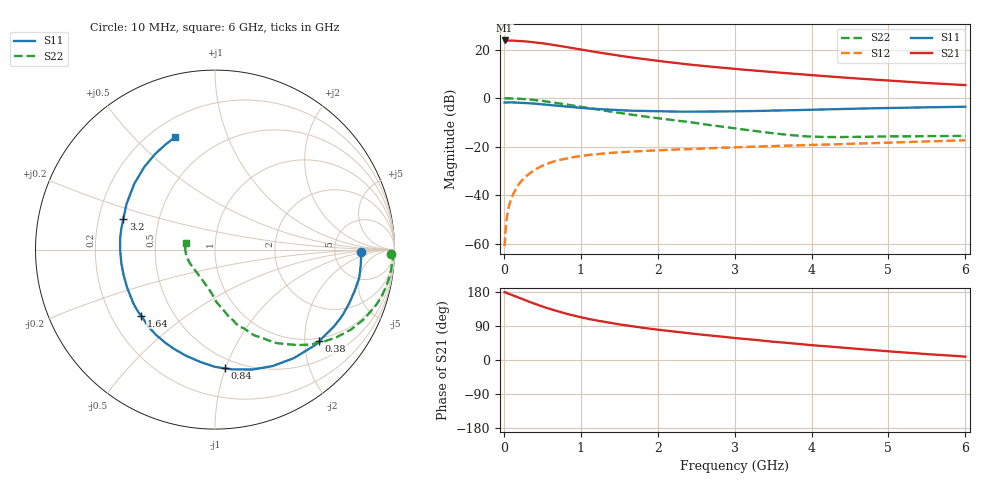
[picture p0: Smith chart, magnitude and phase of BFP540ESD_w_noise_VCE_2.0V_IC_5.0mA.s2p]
! Infineon Technologies  Discrete & RF Semiconductors
! BFP540ESD
! VCE =  2.0 V,  IC =  5.0 mA
! Common Emitter S-Parameters:  Nov 2015
# GHz  S  MA  R  50
!  f  S11  S21  S12  S22
! GHz  MAG  ANG  MAG  ANG  MAG  ANG  MAG  ANG
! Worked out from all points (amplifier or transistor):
!   210 points, 10 MHz to 6 GHz, reference 50 ohm
!   highest |S21| = 23.7 dB at 10 MHz (marker M1)
!   |S21| within 3 dB of that: start of sweep to 866.6 MHz
!   unconditionally stable (mu >= 1): 3.314 GHz to end of sweep
!   at 185 MHz: K = 0.04, MSG = 29.7 dB, |S12| = -35.9 dB
!   at 1.52 GHz: K = 0.50, MSG = 19.8 dB, |S12| = -22.3 dB
!   at 6 GHz: K = 1.23, MAG = 8.5 dB, |S12| = -17.4 dB
!   lowest NFmin = 0.69 dB at 900 MHz
!   S11 on the Smith chart (normalised r, x): 10 MHz: 9.66, -0.81; 380 MHz: 0.92, -2.34; 840 MHz: 0.42, -1.00; 1.64 GHz: 0.33, -0.35; 3.2 GHz: 0.31, +0.15; 6 GHz: 0.30, +0.66
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0.01  0.8136 -1.0  15.36 178.9  0.0009 74.0  0.9816 -1.4
0.02  0.8146 -2.5  15.21 178.7  0.0017 82.7  0.9918 -1.3
0.05  0.8168 -5.6  15.27 175.9  0.0045 90.3  0.9911 -3.2
0.15  0.811 -16.7  15.18 168.0  0.0129 83.8  0.9821 -9.6
0.3  0.789 -32.9  14.59 156.0  0.0255 75.3  0.9489 -19.0
0.38  0.7728 -41.3  14.13 150.0  0.0318 71.4  0.9227 -23.7
0.5  0.7475 -54.0  13.49 141.1  0.0407 66.3  0.8773 -30.7
0.6  0.7239 -63.7  12.72 134.4  0.0469 61.2  0.8338 -35.9
0.7  0.7002 -72.6  12.06 128.6  0.0525 57.3  0.7907 -40.6
0.84  0.664 -85.2  11.06 120.7  0.0584 52.5  0.728 -46.8
1.02  0.6265 -99.0  9.878 112.0  0.0654 47.2  0.6539 -53.5
1.1  0.6128 -105.4  9.416 108.4  0.0677 44.7  0.6231 -56.7
1.28  0.5897 -117.0  8.452 101.7  0.0723 41.4  0.5628 -61.5
1.5  0.5675 -131.0  7.463 94.0  0.0763 37.8  0.4974 -67.5
1.64  0.5523 -138.2  6.933 89.9  0.0791 35.5  0.4612 -70.7
2.02  0.5335 -156.6  5.798 79.5  0.0845 31.7  0.384 -78.3
2.56  0.5277 -177.9  4.642 67.2  0.0914 27.9  0.2962 -87.8
3.1  0.536 164.3  3.874 56.3  0.0983 25.2  0.2275 -97.7
3.2  0.5386 161.4  3.756 54.4  0.0996 24.6  0.2171 -100.3
4.1  0.5839 138.7  2.891 37.6  0.1096 20.3  0.1594 -135.4
5.1  0.6311 120.8  2.247 21.4  0.1226 16.0  0.1633 -169.4
6  0.6651 109.6  1.855 8.9  0.1356 12.6  0.1677 167.1
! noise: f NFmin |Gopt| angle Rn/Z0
0.9  0.69  0.1  42  0.12
1.8  0.92  0.1  123  0.11
2.4  0.94  0.12  135  0.1
3  1.1  0.2  165  0.09
4  1.26  0.29  -127  0.15
5  1.53  0.41  -101  0.32
6  1.74  0.53  -100  0.46
